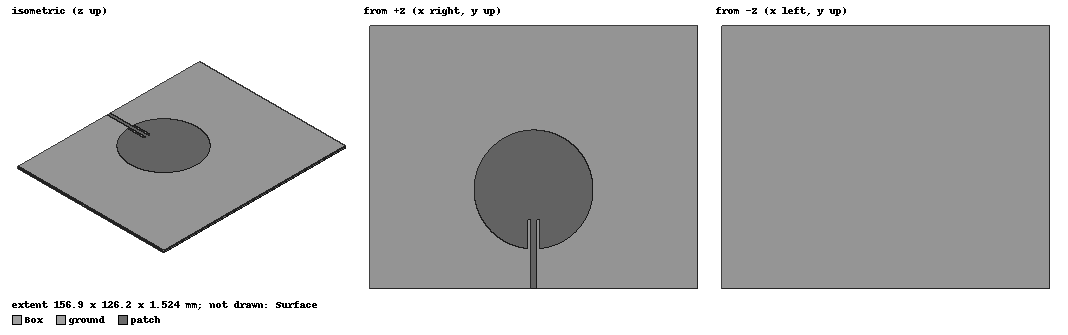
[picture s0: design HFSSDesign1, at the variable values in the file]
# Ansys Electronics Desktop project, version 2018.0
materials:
  vacuum: permittivity=1
  FR4_epoxy: permittivity=4.4 dielectric_loss_tangent=0.02
  air: permittivity=1.0006 permeability=1.0000004

design HFSSDesign1 (HFSS, DrivenModal, model units mm)
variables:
  a = 28.46mm
  wl = 2.64mm
  ll = 33.4mm
  s = wl/2
  h = 1.524mm
  lambda = 200mm
  b = 14.17mm
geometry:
  Box [FR4_epoxy] = box(corner=(0mm, 0mm, 0mm), size=(lambda/2+2*A, ll+B+A+lambda/4, h))
  ground = rectangle(corner=(0mm, 0mm, 0mm), x_size=lambda/2+2*A, y_size=lambda/4+2*A-B+ll)
  patch = circle(normal=Z, centre=(lambda/4+A, ll+B, h), radius=A)
  hueco = rectangle(corner=(lambda/4+A -wl, ll-B, h), x_size=wl+2*s, y_size=B)
  patch.subtract(hueco)
  linea = rectangle(corner=(lambda/4+A-wl+s, 0, h), x_size=wl, y_size=ll)
  patch.unite(linea)
  port = rectangle(corner=(lambda/4 +A -s, 0mm, 0mm), z_size=h, x_size=wl)
  Surface [air] = region(absolute_offset=lambda/4 on all sides)
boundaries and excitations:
  ground: Perfect E Objects=ground
  patch: Perfect E Objects=patch
  Rad1: Radiation Objects=Surface
  1: Lumped Port Objects=port Modes{Mode1{IntLine{middle of port.edge(z at corner) -> middle of port.edge(z opposite corner)} CharImp=Zpi RenormImp=50ohm}} Impedance=50ohm
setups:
  Setup1: HfssDriven Frequency=1.5GHz MaxDeltaS=0.02 MaximumPasses=6 MinimumPasses=1 MinimumConvergedPasses=1 PercentRefinement=30 BasisOrder=1 PortAccuracy=2
    sweep Sweep: 1GHz to 2GHz step 0.05GHz; Type=Fast SaveFields
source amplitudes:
  1:1: 1W 0deg
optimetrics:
  ParametricSetup1: Parametric Sim._Setups=[Setup1]
    sweep ll: LIN 25mm 40mm 0.05mm
  ParametricSetup2: Parametric Sim._Setups=[Setup1]
  ParametricSetup3: Parametric Sim._Setups=[Setup1]
    sweep wl: LIN 1.32mm 3.96mm 0.02mm
  ParametricSetup4: Parametric Sim._Setups=[Setup1]
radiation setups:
  Infinite Sphere1: Infinite Sphere Theta=-180deg..180deg step 2deg Phi=-180deg..180deg step 2deg
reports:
  S Parameter Plot 1: dB(S(1,1)) vs Freq on Setup1 : Sweep [A=28.46mm wl=2.64mm ll=33.4mm,39.7mm]; markers MX1 at x=1.5003791e+09
  Z Parameter Plot 1: re(Z(1,1)), im(Z(1,1)) vs Freq on Setup1 : Sweep [ll=33.4mm,39.7mm]; markers MX1 at x=1.4965035e+09
  VSWR Plot 1: VSWR(1) vs Freq on Setup1 : Sweep [ll=33.4mm,39.7mm]; markers MX1 at x=1.5003762e+09
  Gain Plot 1: dB(GainTotal) vs Theta on Setup1 : LastAdaptive, Infinite Sphere1 [Phi=90deg Freq=1.5GHz]
  Gain Plot 2: dB(GainTotal) vs Phi, Theta on Setup1 : LastAdaptive, Infinite Sphere1 [Freq=1.5GHz]
